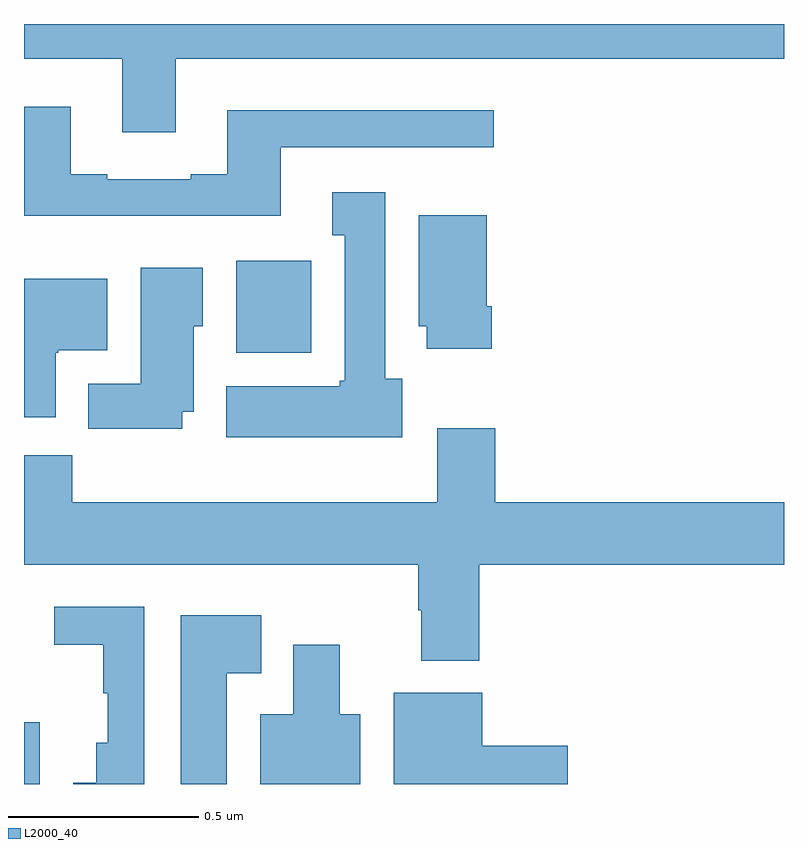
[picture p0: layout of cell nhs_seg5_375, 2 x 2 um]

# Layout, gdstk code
import gdstk
lib = gdstk.Library(unit=1e-6, precision=1e-09)
def R(c, l, rs):  # rectangles x0, y0, x1, y1
    for r in rs: c.add(gdstk.rectangle(r[:2], r[2:], *l))
def P(c, l, *ps):  # polygons
    for p in ps: c.add(gdstk.Polygon(p, *l))
L2000_40 = (2000, 40)

nhs_seg5_375 = lib.new_cell('nhs_seg5_375')
R(nhs_seg5_375, L2000_40, [(115,906.799,115.041,906.961), (115.559,907.934,115.756,908.176)])
P(nhs_seg5_375, L2000_40, [(115.399,908.708),(117,908.708),(117,908.799),(115,908.799),(115,908.708),(115.259,908.708),(115.259,908.514),(115.399,908.514)],
  [(115.675,908.475),(116.236,908.475),(116.236,908.572),(115.535,908.572),(115.535,908.404),(115.439,908.404),(115.439,908.391),(115.219,908.391),(115.219,908.404),(115.123,908.404),(115.123,908.581),(115,908.581),(115,908.294),(115.675,908.294)],
  [(115.996,907.866),(115.951,907.866),(115.951,908.356),(115.811,908.356),(115.811,908.243),(115.844,908.243),(115.844,907.86),(115.831,907.86),(115.831,907.846),(115.532,907.846),(115.532,907.712),(115.996,907.712)],
  [(116.231,908.056),(116.218,908.056),(116.218,908.296),(116.039,908.296),(116.039,908.004),(116.06,908.004),(116.06,907.944),(116.231,907.944)],
  [(115.417,907.778),(115.447,907.778),(115.447,908.004),(115.471,908.004),(115.471,908.158),(115.307,908.158),(115.307,907.852),(115.169,907.852),(115.169,907.734),(115.417,907.734)],
  [(115.084,907.934),(115.09,907.934),(115.09,907.94),(115.219,907.94),(115.219,908.128),(115,908.128),(115,907.764),(115.084,907.764)],
  [(116.198,907.376),(117,907.376),(117,907.54),(116.24,907.54),(116.24,907.735),(116.087,907.735),(116.087,907.54),(115.127,907.54),(115.127,907.664),(115,907.664),(115,907.376),(116.038,907.376),(116.038,907.256),(116.045,907.256),(116.045,907.124),(116.198,907.124)],
  [(115.317,907.266),(115.08,907.266),(115.08,907.165),(115.209,907.165),(115.209,907.038),(115.22,907.038),(115.22,906.907),(115.19,906.907),(115.19,906.802),(115.13,906.802),(115.13,906.799),(115.317,906.799)],
  [(115.534,907.091),(115.624,907.091),(115.624,907.243),(115.412,907.243),(115.412,906.799),(115.534,906.799)],
  [(115.885,906.982),(115.831,906.982),(115.831,907.165),(115.709,907.165),(115.709,906.982),(115.622,906.982),(115.622,906.799),(115.885,906.799)],
  [(116.431,906.9),(116.206,906.9),(116.206,907.039),(115.973,907.039),(115.973,906.799),(116.431,906.799)])

lib.write_gds('nhs_seg5_375.gds')
